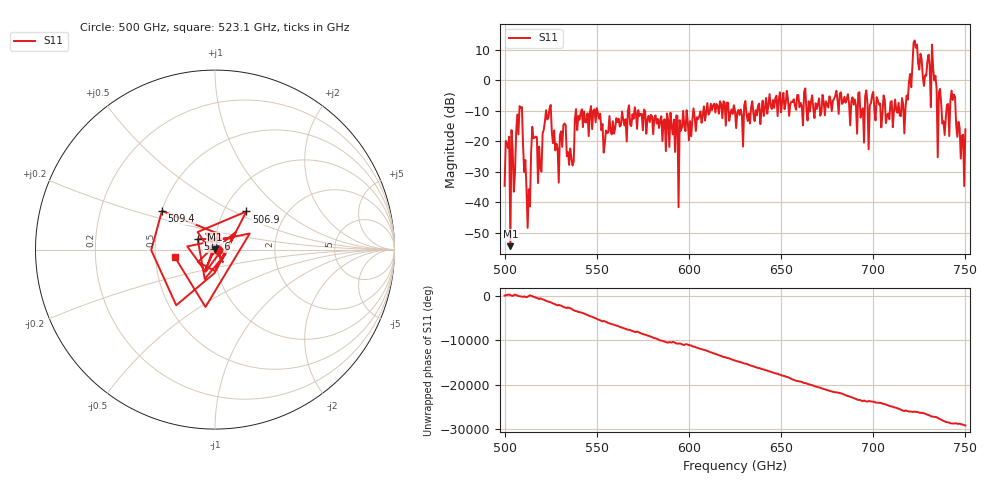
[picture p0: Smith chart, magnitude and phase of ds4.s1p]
# GHz S RI R 50
!freq	ReS11	ImS11
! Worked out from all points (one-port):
!   401 points, 500 GHz to 750 GHz, reference 50 ohm
!   lowest |S11| = -54.4 dB at 503.1 GHz (marker M1), VSWR 1.00, Z = 49.9 + j0.165 ohm
!   |S11| at or under -10 dB: 525.1 GHz to 538.6 GHz (13.51 GHz wide, 2.54 % of centre); 550.3 GHz to 566.9 GHz (16.54 GHz wide, 2.96 % of centre); 576.2 GHz to 598.7 GHz (22.54 GHz wide, 3.84 % of centre) (the widest 3 of 59)
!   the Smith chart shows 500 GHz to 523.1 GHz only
!   S11 on the Smith chart (normalised r, x): 500 GHz: 1.04, -0.01; 506.9 GHz: 1.27, +0.59; 509.4 GHz: 0.50, +0.25; 515.6 GHz: 0.82, +0.10; 523.1 GHz: 0.63, -0.05
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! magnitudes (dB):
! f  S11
! 500 GHz  -34.6
! 503.1 GHz  -54.4
! 504.4 GHz  -22.7
! 506.9 GHz  -11.2
! 509.4 GHz  -8.7
! 512.5 GHz  -48.4
! 515.6 GHz  -19.0
! 519.4 GHz  -28.8
! 523.1 GHz  -12.8
! 528.1 GHz  -20.7
! 531.2 GHz  -21.8
! 536.2 GHz  -25.6
! 540 GHz  -11.7
! 555 GHz  -16.4
! 562.5 GHz  -15.2
! 593.8 GHz  -11.6
! 612.5 GHz  -9.8
! 625 GHz  -10.0
! 656.2 GHz  -7.1
! 687.5 GHz  -14.8
! 715.6 GHz  -5.8
! 718.8 GHz  -6.3
! 723.1 GHz  10.7
! 733.1 GHz  0.0
! 738.1 GHz  -13.4
! 743.1 GHz  -6.4
! 748.1 GHz  -18.1
! 750 GHz  -16.1
